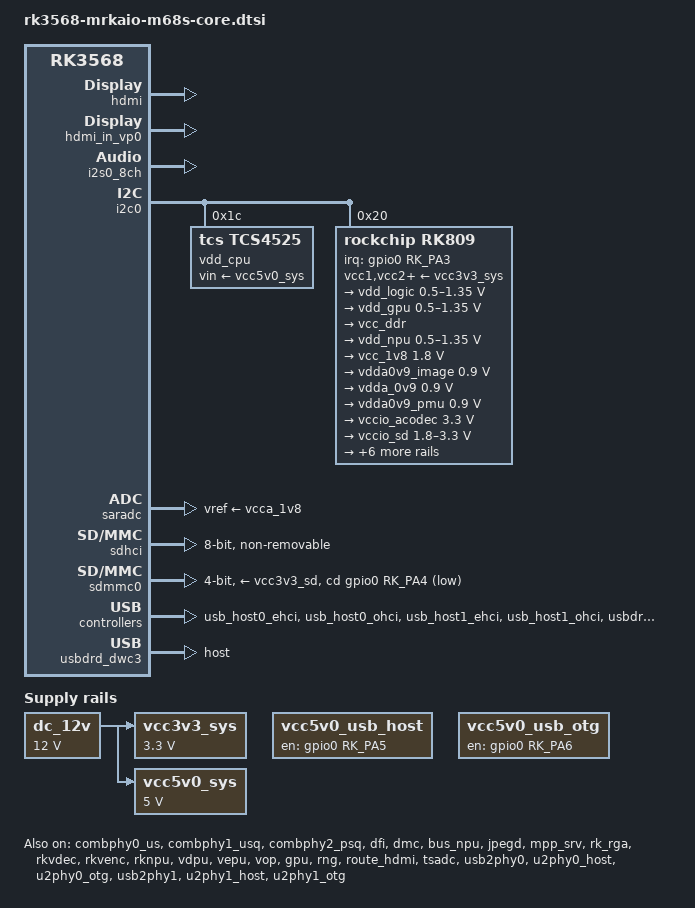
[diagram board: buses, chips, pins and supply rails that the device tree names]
// SPDX-License-Identifier: (GPL-2.0+ OR MIT)

#include <dt-bindings/gpio/gpio.h>
#include <dt-bindings/pwm/pwm.h>
#include <dt-bindings/pinctrl/rockchip.h>
#include <dt-bindings/input/rk-input.h>
#include <dt-bindings/display/drm_mipi_dsi.h>
#include <dt-bindings/display/rockchip_vop.h>
#include <dt-bindings/sensor-dev.h>
#include "rk3568.dtsi"
#include "rk3568-linux.dtsi"

/ {
	aliases {
		mmc1 = &sdmmc0;
		mmc0 = &sdhci;
	};

	chosen: chosen {
		bootargs = "earlycon=uart8250,mmio32,0xfe660000 console=ttyFIQ0 root=PARTUUID=614e0000-0000 rw rootwait";
	};

	fiq-debugger {
		compatible = "rockchip,fiq-debugger";
		rockchip,serial-id = <2>;
		rockchip,wake-irq = <0>;
		/* If enable uart uses irq instead of fiq */
		rockchip,irq-mode-enable = <1>;
		rockchip,baudrate = <1500000>;  /* Only 115200 and 1500000 */
		interrupts = <GIC_SPI 252 IRQ_TYPE_LEVEL_LOW>;
		pinctrl-names = "default";
		pinctrl-0 = <&uart2m0_xfer>;
		status = "okay";
	};

	debug: debug@fd904000 {
		compatible = "rockchip,debug";
		reg = <0x0 0xfd904000 0x0 0x1000>,
			<0x0 0xfd905000 0x0 0x1000>,
			<0x0 0xfd906000 0x0 0x1000>,
			<0x0 0xfd907000 0x0 0x1000>;
	};

	hdmi_sound: hdmi-sound {
		compatible = "simple-audio-card";
		simple-audio-card,format = "i2s";
		simple-audio-card,mclk-fs = <128>;
		simple-audio-card,name = "rockchip,hdmi";
		status = "disabled";

		simple-audio-card,cpu {
			sound-dai = <&i2s0_8ch>;
		};
		simple-audio-card,codec {
			sound-dai = <&hdmi>;
		};
	};

	dc_12v: dc-12v-regulator {
		compatible = "regulator-fixed";
		regulator-name = "dc_12v";
		regulator-always-on;
		regulator-boot-on;
		regulator-min-microvolt = <12000000>;
		regulator-max-microvolt = <12000000>;
	};

	vcc3v3_sys: vcc3v3-sys-regulator {
		compatible = "regulator-fixed";
		regulator-name = "vcc3v3_sys";
		regulator-always-on;
		regulator-boot-on;
		regulator-min-microvolt = <3300000>;
		regulator-max-microvolt = <3300000>;
		vin-supply = <&dc_12v>;
	};

	vcc5v0_sys: vcc5v0-sys-regulator {
		compatible = "regulator-fixed";
		regulator-name = "vcc5v0_sys";
		regulator-always-on;
		regulator-boot-on;
		regulator-min-microvolt = <5000000>;
		regulator-max-microvolt = <5000000>;
		vin-supply = <&dc_12v>;
	};

	vcc5v0_usb_host: vcc5v0-usb-host-regulator {
		compatible = "regulator-fixed";
		regulator-name = "vcc5v0_usb_host";
		enable-active-high;
		gpio = <&gpio0 RK_PA5 GPIO_ACTIVE_HIGH>;
		pinctrl-names = "default";
		pinctrl-0 = <&vcc5v0_usb_host_en>;
		regulator-always-on;
		regulator-boot-on;
	};

	vcc5v0_usb_otg: vcc5v0-usb-otg-regulator {
		compatible = "regulator-fixed";
		regulator-name = "vcc5v0_usb_otg";
		enable-active-high;
		gpio = <&gpio0 RK_PA6 GPIO_ACTIVE_HIGH>;
		pinctrl-names = "default";
		pinctrl-0 = <&vcc5v0_usb_otg_en>;
		regulator-always-on;
		regulator-boot-on;
	};
};

&combphy0_us {
	status = "okay";
};

&combphy1_usq {
	status = "okay";
};

&combphy2_psq {
	status = "okay";
};

&cpu0 {
	cpu-supply = <&vdd_cpu>;
};

&cpu1 {
	cpu-supply = <&vdd_cpu>;
};

&cpu2 {
	cpu-supply = <&vdd_cpu>;
};

&cpu3 {
	cpu-supply = <&vdd_cpu>;
};

&dfi {
	status = "okay";
};

&dmc {
	center-supply = <&vdd_logic>;
	status = "okay";
};

&bus_npu {
	bus-supply = <&vdd_logic>;
	pvtm-supply = <&vdd_cpu>;
	status = "okay";
};

&jpegd {
	status = "okay";
};

&jpegd_mmu {
	status = "okay";
};

&mpp_srv {
	status = "okay";
};

&rk_rga {
	status = "okay";
};

&rkvdec {
	status = "okay";
};

&rkvdec_mmu {
	status = "okay";
};

&rkvenc {
	venc-supply = <&vdd_logic>;
	status = "okay";
};

&rkvenc_mmu {
	status = "okay";
};

&rknpu {
	rknpu-supply = <&vdd_npu>;
	mem-supply = <&vdd_npu>;
	status = "okay";
};

&rknpu_mmu {
	status = "okay";
};

&vdpu {
	status = "okay";
};

&vdpu_mmu {
	status = "okay";
};

&vepu {
	status = "okay";
};

&vepu_mmu {
	status = "okay";
};

&vop {
	assigned-clocks = <&cru DCLK_VOP0>, <&cru DCLK_VOP1>;
	assigned-clock-parents = <&pmucru PLL_HPLL>, <&cru PLL_VPLL>;
	support-multi-area;
	status = "okay";
};

&vop_mmu {
	status = "okay";
};

&gpu {
	mali-supply = <&vdd_gpu>;
	status = "okay";
};

&hdmi {
	avdd-0v9-supply = <&vdda0v9_image>;
	avdd-1v8-supply = <&vcca1v8_image>;
	rockchip,phy-table =
		<92812500  0x8009 0x0000 0x0270>,
		<165000000 0x800b 0x0000 0x026d>,
		<185625000 0x800b 0x0000 0x01ed>,
		<297000000 0x800b 0x0000 0x01ad>,
		<594000000 0x8029 0x0000 0x0088>,
		<000000000 0x0000 0x0000 0x0000>;
	status = "okay";
};

&hdmi_in_vp0 {
	status = "okay";
};

&hdmi_in_vp1 {
	status = "disabled";
};

&hdmi_sound {
	status = "okay";
};

&i2s0_8ch {
	status = "okay";
};

&i2c0 {
	status = "okay";

	vdd_cpu: regulator@1c {
		compatible = "tcs,tcs4525";
		reg = <0x1c>;
		fcs,suspend-voltage-selector = <1>;
		regulator-always-on;
		regulator-boot-on;
		regulator-min-microvolt = <712500>;
		regulator-max-microvolt = <1390000>;
		regulator-init-microvolt = <900000>;
		regulator-name = "vdd_cpu";
		regulator-ramp-delay = <2300>;
		vin-supply = <&vcc5v0_sys>;
		regulator-state-mem {
			regulator-off-in-suspend;
		};
	};

	rk809: pmic@20 {
		compatible = "rockchip,rk809";
		reg = <0x20>;
		interrupt-parent = <&gpio0>;
		interrupts = <RK_PA3 IRQ_TYPE_LEVEL_LOW>;
		pinctrl-names = "default", "pmic-sleep", "pmic-power-off", "pmic-reset";
		pinctrl-0 = <&pmic_int>;
		pinctrl-1 = <&soc_slppin_slp>, <&rk817_slppin_slp>;
		pinctrl-2 = <&soc_slppin_gpio>, <&rk817_slppin_pwrdn>;
		pinctrl-3 = <&soc_slppin_gpio>, <&rk817_slppin_rst>;
		rockchip,system-power-controller;
		wakeup-source;
		#clock-cells = <1>;
		clock-output-names = "rk808-clkout1", "rk808-clkout2";
		//fb-inner-reg-idxs = <2>;
		/* 1: rst regs (default in codes), 0: rst the pmic */
		pmic-reset-func = <0>;
		/* not save the PMIC_POWER_EN register in uboot */
		not-save-power-en = <1>;

		vcc1-supply = <&vcc3v3_sys>;
		vcc2-supply = <&vcc3v3_sys>;
		vcc3-supply = <&vcc3v3_sys>;
		vcc4-supply = <&vcc3v3_sys>;
		vcc5-supply = <&vcc3v3_sys>;
		vcc6-supply = <&vcc3v3_sys>;
		vcc7-supply = <&vcc3v3_sys>;
		vcc8-supply = <&vcc3v3_sys>;
		vcc9-supply = <&vcc3v3_sys>;

		pwrkey {
			status = "okay";
		};

		pinctrl_rk8xx: pinctrl_rk8xx {
			gpio-controller;
			#gpio-cells = <2>;

			rk817_slppin_null: rk817_slppin_null {
				pins = "gpio_slp";
				function = "pin_fun0";
			};

			rk817_slppin_slp: rk817_slppin_slp {
				pins = "gpio_slp";
				function = "pin_fun1";
			};

			rk817_slppin_pwrdn: rk817_slppin_pwrdn {
				pins = "gpio_slp";
				function = "pin_fun2";
			};

			rk817_slppin_rst: rk817_slppin_rst {
				pins = "gpio_slp";
				function = "pin_fun3";
			};
		};

		regulators {
			vdd_logic: DCDC_REG1 {
				regulator-always-on;
				regulator-boot-on;
				regulator-min-microvolt = <500000>;
				regulator-max-microvolt = <1350000>;
				regulator-init-microvolt = <900000>;
				regulator-ramp-delay = <6001>;
				regulator-initial-mode = <0x2>;
				regulator-name = "vdd_logic";
				regulator-state-mem {
					regulator-off-in-suspend;
				};
			};

			vdd_gpu: DCDC_REG2 {
				regulator-always-on;
				regulator-boot-on;
				regulator-min-microvolt = <500000>;
				regulator-max-microvolt = <1350000>;
				regulator-init-microvolt = <900000>;
				regulator-ramp-delay = <6001>;
				regulator-initial-mode = <0x2>;
				regulator-name = "vdd_gpu";
				regulator-state-mem {
					regulator-off-in-suspend;
				};
			};

			vcc_ddr: DCDC_REG3 {
				regulator-always-on;
				regulator-boot-on;
				regulator-initial-mode = <0x2>;
				regulator-name = "vcc_ddr";
				regulator-state-mem {
					regulator-on-in-suspend;
				};
			};

			vdd_npu: DCDC_REG4 {
				regulator-always-on;
				regulator-boot-on;
				regulator-min-microvolt = <500000>;
				regulator-max-microvolt = <1350000>;
				regulator-init-microvolt = <900000>;
				regulator-ramp-delay = <6001>;
				regulator-initial-mode = <0x2>;
				regulator-name = "vdd_npu";
				regulator-state-mem {
					regulator-off-in-suspend;
				};
			};

			vcc_1v8: DCDC_REG5 {
				regulator-always-on;
				regulator-boot-on;
				regulator-min-microvolt = <1800000>;
				regulator-max-microvolt = <1800000>;
				regulator-name = "vcc_1v8";
				regulator-state-mem {
					regulator-off-in-suspend;
				};
			};

			vdda0v9_image: LDO_REG1 {
				regulator-always-on;
				regulator-boot-on;
				regulator-min-microvolt = <900000>;
				regulator-max-microvolt = <900000>;
				regulator-name = "vdda0v9_image";
				regulator-state-mem {
					regulator-off-in-suspend;
				};
			};

			vdda_0v9: LDO_REG2 {
				regulator-always-on;
				regulator-boot-on;
				regulator-min-microvolt = <900000>;
				regulator-max-microvolt = <900000>;
				regulator-name = "vdda_0v9";
				regulator-state-mem {
					regulator-off-in-suspend;
				};
			};

			vdda0v9_pmu: LDO_REG3 {
				regulator-always-on;
				regulator-boot-on;
				regulator-min-microvolt = <900000>;
				regulator-max-microvolt = <900000>;
				regulator-name = "vdda0v9_pmu";
				regulator-state-mem {
					regulator-on-in-suspend;
					regulator-suspend-microvolt = <900000>;
				};
			};

			vccio_acodec: LDO_REG4 {
				regulator-always-on;
				regulator-boot-on;
				regulator-min-microvolt = <3300000>;
				regulator-max-microvolt = <3300000>;
				regulator-name = "vccio_acodec";
				regulator-state-mem {
					regulator-off-in-suspend;
				};
			};

			vccio_sd: LDO_REG5 {
				regulator-always-on;
				regulator-boot-on;
				regulator-min-microvolt = <1800000>;
				regulator-max-microvolt = <3300000>;
				regulator-ramp-delay = <6001>;
				regulator-name = "vccio_sd";
				regulator-state-mem {
					regulator-off-in-suspend;
				};
			};

			vcc3v3_pmu: LDO_REG6 {
				regulator-always-on;
				regulator-boot-on;
				regulator-min-microvolt = <3300000>;
				regulator-max-microvolt = <3300000>;
				regulator-name = "vcc3v3_pmu";
				regulator-state-mem {
					regulator-on-in-suspend;
					regulator-suspend-microvolt = <3300000>;
				};
			};

			vcca_1v8: LDO_REG7 {
				regulator-always-on;
				regulator-boot-on;
				regulator-min-microvolt = <1800000>;
				regulator-max-microvolt = <1800000>;
				regulator-name = "vcca_1v8";
				regulator-state-mem {
					regulator-off-in-suspend;
				};
			};

			vcca1v8_pmu: LDO_REG8 {
				regulator-always-on;
				regulator-boot-on;
				regulator-min-microvolt = <1800000>;
				regulator-max-microvolt = <1800000>;
				regulator-name = "vcca1v8_pmu";
				regulator-state-mem {
					regulator-on-in-suspend;
					regulator-suspend-microvolt = <1800000>;
				};
			};

			vcca1v8_image: LDO_REG9 {
				regulator-always-on;
				regulator-boot-on;
				regulator-min-microvolt = <1800000>;
				regulator-max-microvolt = <1800000>;
				regulator-name = "vcca1v8_image";
				regulator-state-mem {
					regulator-off-in-suspend;
				};
			};

			vcc_3v3: SWITCH_REG1 {
				regulator-always-on;
				regulator-boot-on;
				regulator-name = "vcc_3v3";
				regulator-state-mem {
					regulator-off-in-suspend;
				};
			};

			vcc3v3_sd: SWITCH_REG2 {
				regulator-always-on;
				regulator-boot-on;
				regulator-name = "vcc3v3_sd";
				regulator-state-mem {
					regulator-off-in-suspend;
				};
			};
		};

		rk809_codec: codec {
			#sound-dai-cells = <1>;
			compatible = "rockchip,rk809-codec", "rockchip,rk817-codec";
			clocks = <&cru I2S1_MCLKOUT>;
			clock-names = "mclk";
			assigned-clocks = <&cru I2S1_MCLKOUT>, <&cru I2S1_MCLK_TX_IOE>;
			assigned-clock-rates = <12288000>;
			assigned-clock-parents = <&cru I2S1_MCLKOUT_TX>, <&cru I2S1_MCLKOUT_TX>;
			pinctrl-names = "default";
			pinctrl-0 = <&i2s1m0_mclk>;
			hp-volume = <20>;
			spk-volume = <3>;
			mic-in-differential;
			status = "okay";
		};
	};
};

&pinctrl {
	pmic {
		pmic_int: pmic_int {
			rockchip,pins = <0 RK_PA3 RK_FUNC_GPIO &pcfg_pull_up>;
		};

		soc_slppin_gpio: soc_slppin_gpio {
			rockchip,pins = <0 RK_PA2 RK_FUNC_GPIO &pcfg_output_low_pull_down>;
		};

		soc_slppin_slp: soc_slppin_slp {
			rockchip,pins = <0 RK_PA2 1 &pcfg_pull_up>;
		};

		soc_slppin_rst: soc_slppin_rst {
			rockchip,pins = <0 RK_PA2 2 &pcfg_pull_none>;
		};
	};
};

&pmu_io_domains {
	pmuio1-supply = <&vcc3v3_pmu>;
	pmuio2-supply = <&vcc3v3_pmu>;
	vccio1-supply = <&vccio_acodec>;
	vccio2-supply = <&vcc_1v8>;
	vccio3-supply = <&vccio_sd>;
	vccio4-supply = <&vcc_1v8>;
	vccio5-supply = <&vcc_3v3>;
	vccio6-supply = <&vcc_1v8>;
	vccio7-supply = <&vcc_3v3>;
	status = "okay";
};

&rng {
	status = "okay";
};

&rockchip_suspend {
	status = "okay";
};

&route_hdmi {
	status = "okay";
	connect = <&vp0_out_hdmi>;
};

&saradc {
	vref-supply = <&vcca_1v8>;
	status = "okay";
};

&sdhci {
	max-frequency = <200000000>;
	bus-width = <8>;
	no-sdio;
	no-sd;
	supports-emmc;
	non-removable;
	mmc-hs200-1_8v;
	pinctrl-names = "default";
	pinctrl-0 = <&emmc_bus8 &emmc_clk &emmc_cmd &emmc_datastrobe>;
	status = "okay";
};

&sdmmc0 {
	max-frequency = <150000000>;
	bus-width = <4>;
	cap-mmc-highspeed;
	cap-sd-highspeed;
	cd-gpios = <&gpio0 RK_PA4 GPIO_ACTIVE_LOW>;
	supports-sd;
	disable-wp;
	sd-uhs-sdr104;
	vmmc-supply = <&vcc3v3_sd>;
	vqmmc-supply = <&vccio_sd>;
	pinctrl-names = "default";
	pinctrl-0 = <&sdmmc0_bus4 &sdmmc0_clk &sdmmc0_cmd &sdmmc0_det>;
	status = "okay";
};

&tsadc {
	rockchip,hw-tshut-mode = <1>;
	rockchip,hw-tshut-polarity = <0>;
	status = "okay";
};

&uart2 {
	status = "disabled";
};

&usb_host0_ehci {
	status = "okay";
};

&usb_host0_ohci {
	status = "okay";
};

&usb_host1_ehci {
	status = "okay";
};

&usb_host1_ohci {
	status = "okay";
};

&usb2phy0 {
	status = "okay";
};

&u2phy0_host {
	phy-supply = <&vcc5v0_usb_host>;
	status = "okay";
};

&u2phy0_otg {
	phy-supply = <&vcc5v0_usb_otg>;
	status = "okay";
};

&usb2phy1 {
	status = "okay";
};

&u2phy1_host {
	phy-supply = <&vcc5v0_usb_host>;
	status = "okay";
};

&u2phy1_otg {
	phy-supply = <&vcc5v0_usb_host>;
	status = "okay";
};

&usbdrd_dwc3 {
	dr_mode = "host";
	extcon = <&usb2phy0>;
	status = "okay";
};

&usbdrd30 {
	status = "okay";
};

&usbhost_dwc3 {
	status = "okay";
};

&usbhost30 {
	status = "okay";
};
